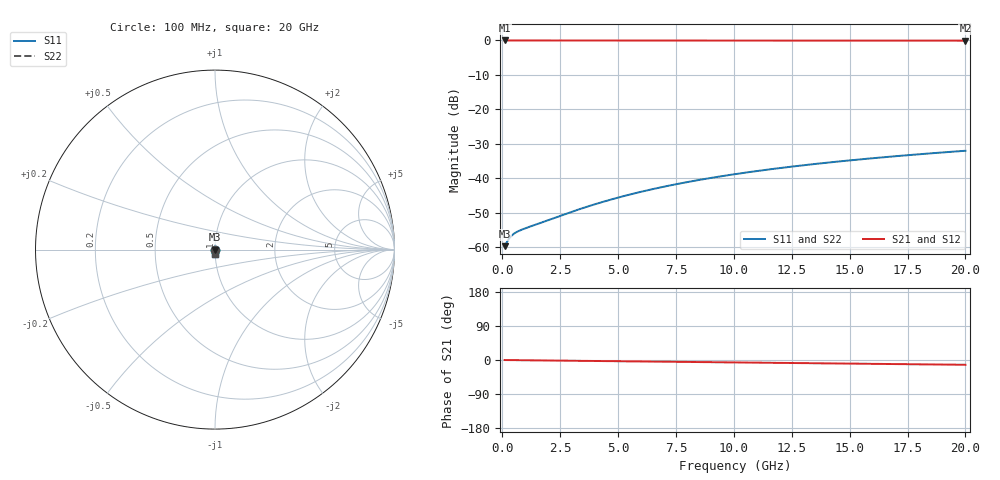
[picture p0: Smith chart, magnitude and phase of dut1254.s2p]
! Touchstone file exported from HFSS 2026.1.0
!  File:  C:/ffzhzh/LocalFiles/Ansys_Project_Files/temp_train_TMRDL_1254_1783163890_22436.aedt
!  Generated:  07:19:17 PM Jul  4, 2026
!  Design:  TMRDL
!  Project:  temp_train_TMRDL_1254_1783163890_22436
! Variables:
!  h_bsmrdl = 2um
!  h_ox = 20um
!  h_rdl = 5um
!  h_sub = 80um
!  h_tmrdl = 3.77um
!  h_tsv = 80um
!  h_via = 3um
!  l_bsmrdl = 300um
!  l_sub = 613.81um
!  l_tmrdl = 213.81um
!  m_sub = 200um
!  pitch = 29.55um
!  r_tsv = 6um
!  s_tmrdl = 10um
!  w_bsmrdl = 18um
!  w_sub = 500um
!  w_tmrdl = 26.36um
!  x_tsv_center1 = 226.99um
!  x_tsv_center2 = 544.99um
!  x_tsv_center3 = 785.16um
!  x_tsv_center4 = 1103.16um
!  x_tsv_center5 = 1343.33um
!  x_tsv_center6 = 1661.33um
# GHz S MA R 50.000000
! Terminal data exported
! Port[1] = TM_RDL1_1_T1
! Port[2] = TM_RDL1_1_T2
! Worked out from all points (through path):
!   200 points, 100 MHz to 20 GHz, reference 50 ohm
!   highest |S21| = -0.01 dB at 100 MHz (marker M1); lowest = -0.1 dB at 20 GHz (marker M2)
!   group delay of S21, straight-line fit = 1.74 ps
!   lowest |S11| = -59.6 dB at 100 MHz (marker M3), VSWR 1.00, Z = 50.1 + j0.0157 ohm
!   |S11| at or under -10 dB: start of sweep to end of sweep
!   |S22| runs from -59.6 to -32.0 dB; largest |S21 - S12| = 4e-15
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0.1  0.001043 8.7  0.999 -0.1  0.999 -0.1  0.001043 8.7
! Gamma 0 0 0 0
! Port Impedance 50 0 50 0
0.2  0.001199 11.5  0.9988 -0.2  0.9988 -0.2  0.001199 11.5
0.3  0.001355 10.0  0.9987 -0.2  0.9987 -0.2  0.001355 10.0
0.4  0.001482 6.7  0.9985 -0.3  0.9985 -0.3  0.001482 6.7
0.5  0.00158 3.0  0.9984 -0.4  0.9984 -0.4  0.00158 3.0
0.7  0.001726 -4.1  0.9983 -0.5  0.9983 -0.5  0.001726 -4.1
1  0.001896 -13.2  0.9981 -0.7  0.9981 -0.7  0.001896 -13.2
2.4  0.002795 -38.0  0.9977 -1.6  0.9977 -1.6  0.002795 -38.0
3.5  0.003739 -47.8  0.9974 -2.3  0.9974 -2.3  0.003739 -47.8
4.3  0.004528 -52.5  0.9971 -2.8  0.9971 -2.8  0.004529 -52.5
5.1  0.005385 -56.2  0.9967 -3.3  0.9967 -3.3  0.005385 -56.2
5.9  0.006296 -59.2  0.9964 -3.8  0.9964 -3.8  0.006296 -59.2
6.8  0.007371 -62.1  0.996 -4.4  0.996 -4.4  0.007371 -62.1
7.6  0.008362 -64.3  0.9957 -4.9  0.9957 -4.9  0.008362 -64.3
8.4  0.009379 -66.4  0.9954 -5.4  0.9954 -5.4  0.00938 -66.3
10.1  0.0116 -70.1  0.9948 -6.5  0.9948 -6.5  0.0116 -70.1
11.7  0.01375 -73.2  0.9942 -7.5  0.9942 -7.5  0.01375 -73.2
13.4  0.01606 -76.0  0.9937 -8.5  0.9937 -8.5  0.01606 -76.0
15  0.01825 -78.4  0.9932 -9.5  0.9932 -9.5  0.01825 -78.4
16.7  0.0206 -80.8  0.9928 -10.6  0.9928 -10.6  0.0206 -80.8
18.3  0.02282 -82.8  0.9924 -11.6  0.9924 -11.6  0.02282 -82.8
20  0.02518 -84.8  0.9919 -12.6  0.9919 -12.6  0.02518 -84.8
